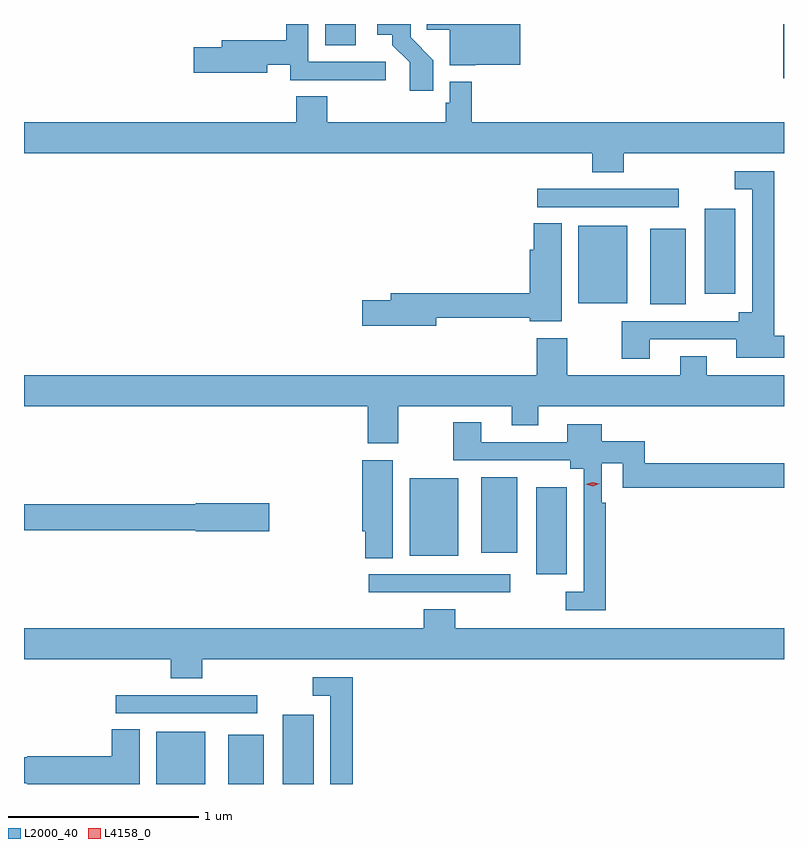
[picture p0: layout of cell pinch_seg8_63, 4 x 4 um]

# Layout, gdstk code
import gdstk
lib = gdstk.Library(unit=1e-6, precision=1e-09)
def R(c, l, rs):  # rectangles x0, y0, x1, y1
    for r in rs: c.add(gdstk.rectangle(r[:2], r[2:], *l))
def P(c, l, *ps):  # polygons
    for p in ps: c.add(gdstk.Polygon(p, *l))
L2000_40 = (2000, 40)
L4158_0 = (4158, 0)

pinch_seg8_63 = lib.new_cell('pinch_seg8_63')
R(pinch_seg8_63, L2000_40, [(983.432,1098.528,983.689,1098.802), (983.81,1098.528,983.998,1098.787), (984.098,1098.528,984.259,1098.892), (983.217,1098.9,983.962,1098.996), (984.549,1099.536,985.294,1099.632), (985.43,1099.631,985.591,1100.089), (984.764,1099.73,985.021,1100.137), (985.142,1099.745,985.33,1100.143), (986.03,1101.053,986.218,1101.451), (985.652,1101.059,985.909,1101.466), (986.318,1101.108,986.479,1101.556), (985.437,1101.564,986.182,1101.66), (986.732,1102.242,986.735,1102.528), (984.32,1102.416,984.481,1102.528)])
P(pinch_seg8_63, L2000_40, [(984.64,1102.329),(984.231,1102.329),(984.231,1102.528),(984.115,1102.528),(984.115,1102.442),(983.777,1102.442),(983.777,1102.406),(983.628,1102.406),(983.628,1102.271),(984.016,1102.271),(984.016,1102.314),(984.135,1102.314),(984.135,1102.233),(984.415,1102.233),(984.415,1102.231),(984.64,1102.231)],
  [(984.89,1102.338),(984.771,1102.457),(984.771,1102.528),(984.594,1102.528),(984.594,1102.472),(984.674,1102.472),(984.674,1102.417),(984.765,1102.327),(984.765,1102.176),(984.89,1102.176)],
  [(985.11,1102.313),(985.348,1102.313),(985.348,1102.528),(984.856,1102.528),(984.856,1102.498),(984.977,1102.498),(984.977,1102.31),(985.11,1102.31)],
  [(984.975,1102.225),(984.975,1102.113),(984.955,1102.113),(984.955,1102.012),(984.332,1102.012),(984.332,1102.148),(984.167,1102.148),(984.167,1102.012),(982.735,1102.012),(982.735,1101.848),(985.727,1101.848),(985.727,1101.749),(985.892,1101.749),(985.892,1101.848),(986.735,1101.848),(986.735,1102.012),(985.091,1102.012),(985.091,1102.225)],
  [(986.029,1100.868),(986.483,1100.868),(986.483,1100.772),(986.735,1100.772),(986.735,1100.888),(986.684,1100.888),(986.684,1101.753),(986.475,1101.753),(986.475,1101.657),(986.568,1101.657),(986.568,1101.01),(986.498,1101.01),(986.498,1100.964),(985.882,1100.964),(985.882,1100.766),(986.029,1100.766)],
  [(984.904,1100.982),(985.397,1100.982),(985.397,1100.963),(985.564,1100.963),(985.564,1101.479),(985.418,1101.479),(985.418,1101.339),(985.397,1101.339),(985.397,1101.11),(984.665,1101.11),(984.665,1101.074),(984.516,1101.074),(984.516,1100.939),(984.904,1100.939)],
  [(984.705,1100.516),(985.301,1100.516),(985.301,1100.417),(985.441,1100.417),(985.441,1100.516),(986.735,1100.516),(986.735,1100.68),(986.329,1100.68),(986.329,1100.779),(986.189,1100.779),(986.189,1100.68),(985.593,1100.68),(985.593,1100.875),(985.433,1100.875),(985.433,1100.68),(982.735,1100.68),(982.735,1100.516),(984.545,1100.516),(984.545,1100.322),(984.705,1100.322)],
  [(985.796,1100.009),(985.776,1100.009),(985.776,1100.215),(985.887,1100.215),(985.887,1100.086),(986.735,1100.086),(986.735,1100.215),(986.003,1100.215),(986.003,1100.333),(985.777,1100.333),(985.777,1100.422),(985.595,1100.422),(985.595,1100.328),(985.141,1100.328),(985.141,1100.431),(984.994,1100.431),(984.994,1100.232),(985.61,1100.232),(985.61,1100.186),(985.68,1100.186),(985.68,1099.54),(985.587,1099.54),(985.587,1099.443),(985.796,1099.443)],
  [(984.676,1100.233),(984.514,1100.233),(984.514,1099.857),(984.53,1099.857),(984.53,1099.717),(984.676,1099.717)],
  [(984.025,1100.006),(983.64,1100.006),(983.64,1100),(982.735,1100),(982.735,1099.864),(983.64,1099.864),(983.64,1099.859),(984.025,1099.859)],
  [(983.672,1099.184),(986.735,1099.184),(986.735,1099.348),(985.004,1099.348),(985.004,1099.447),(984.839,1099.447),(984.839,1099.348),(982.735,1099.348),(982.735,1099.184),(983.507,1099.184),(983.507,1099.085),(983.672,1099.085)],
  [(984.464,1099.089),(984.255,1099.089),(984.255,1098.993),(984.348,1098.993),(984.348,1098.528),(984.464,1098.528)],
  [(983.344,1098.815),(983.198,1098.815),(983.198,1098.674),(982.752,1098.674),(982.752,1098.668),(982.735,1098.668),(982.735,1098.532),(982.752,1098.532),(982.752,1098.528),(983.344,1098.528)])
P(pinch_seg8_63, L4158_0, [(985.728,1100.096),(985.691,1100.105),(985.691,1100.105),(985.691,1100.105),(985.727,1100.116),(985.763,1100.108),(985.764,1100.108),(985.763,1100.108)])

lib.write_gds('pinch_seg8_63.gds')
